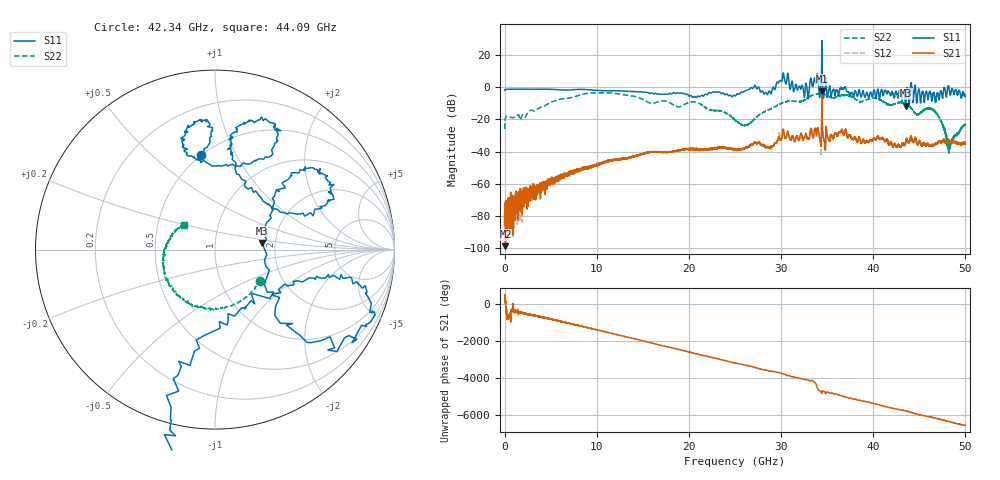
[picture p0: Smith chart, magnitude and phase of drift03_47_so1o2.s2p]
!Created with skrf (http://scikit-rf.org).
# Hz S RI R 50.0
!freq ReS11 ImS11 ReS21 ImS21 ReS12 ImS12 ReS22 ImS22
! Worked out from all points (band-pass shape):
!   10000 points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, 5.3 MHz to 50 GHz, reference 50 ohm
!   highest |S21| = -2.60 dB at 34.43 GHz (marker M1); lowest = -98.7 dB at 95.3 MHz (marker M2)
!   |S21| within 3 dB of the highest: 34.4275 GHz to 34.43452 GHz (7.019 MHz wide, 0.0204 % of centre)
!   lowest |S11| = -11.5 dB at 43.52 GHz (marker M3), VSWR 1.72, Z = 85.4 + j6.82 ohm
!   |S11| at or under -10 dB: 43.49055 GHz to 43.54349 GHz (52.95 MHz wide, 0.122 % of centre); 43.90001 GHz to 43.90008 GHz (64.55 kHz wide, 0.000147 % of centre)
!   |S22| runs from -41.6 to -3.6 dB; largest |S21 - S12| = 0.24
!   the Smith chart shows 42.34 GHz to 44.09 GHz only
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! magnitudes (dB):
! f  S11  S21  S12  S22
! 5.3 MHz  -2.1  -73.5  -78.1  -26.0
! 95.3 MHz  -1.5  -98.7  -73.6  -19.0
! 2.1 GHz  -1.3  -62.5  -67.9  -17.8
! 8.34 GHz  -1.5  -50.9  -51.0  -4.7
! 16.67 GHz  -4.4  -40.2  -40.4  -9.2
! 20.75 GHz  -6.3  -38.6  -38.7  -9.3
! 25.01 GHz  -5.5  -39.0  -38.6  -20.5
! 26.23 GHz  -2.2  -37.1  -37.3  -23.7
! 28.72 GHz  -2.5  -37.7  -37.5  -14.0
! 30.14 GHz  4.4  -29.5  -29.8  -9.9
! 32.74 GHz  2.0  -29.4  -29.2  -7.3
! 33.34 GHz  2.6  -27.5  -27.7  -5.3
! 33.82 GHz  4.0  -29.1  -29.5  -4.2
! 34.43 GHz  28.8  -2.6  -4.7  -3.9
! 36.48 GHz  -0.4  -27.9  -28.0  -5.3
! 41.67 GHz  -2.9  -35.8  -35.5  -11.1
! 43.52 GHz  -11.5  -34.8  -34.7  -10.5
! 44.74 GHz  -9.1  -34.6  -34.5  -17.3
! 46.64 GHz  -4.7  -35.5  -35.8  -15.3
! 47.5 GHz  -6.4  -33.8  -33.8  -23.0
! 48.22 GHz  -0.5  -33.2  -32.9  -36.8
! 50 GHz  -5.2  -34.8  -34.5  -23.2
